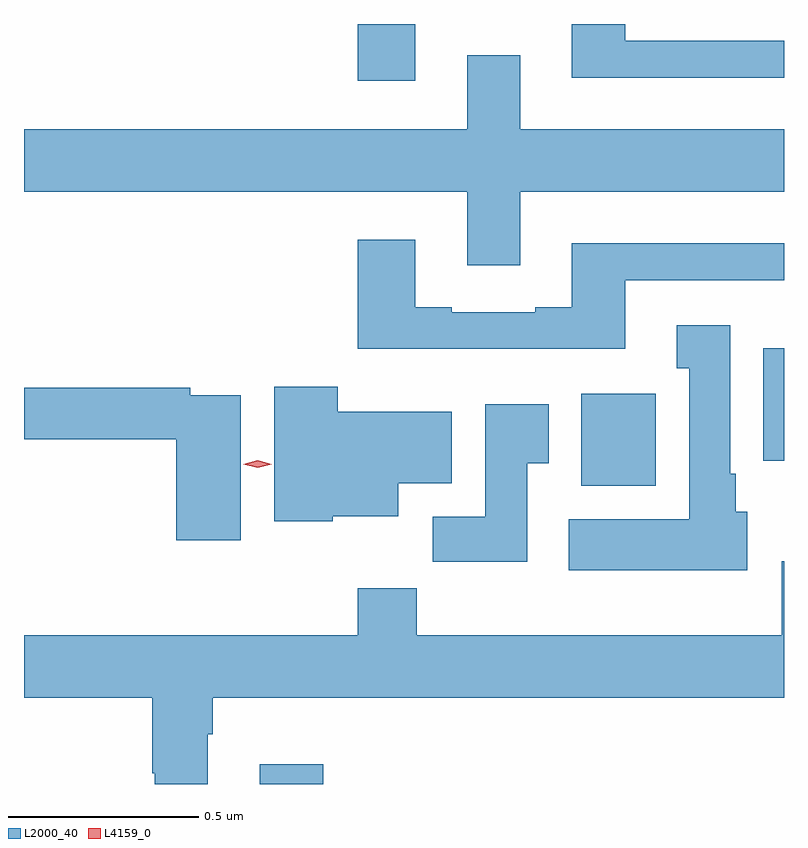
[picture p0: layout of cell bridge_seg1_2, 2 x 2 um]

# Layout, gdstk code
import gdstk
lib = gdstk.Library(unit=1e-6, precision=1e-09)
def R(c, l, rs):  # rectangles x0, y0, x1, y1
    for r in rs: c.add(gdstk.rectangle(r[:2], r[2:], *l))
def P(c, l, *ps):  # polygons
    for p in ps: c.add(gdstk.Polygon(p, *l))
L2000_40 = (2000, 40)
L4159_0 = (4159, 0)

bridge_seg1_2 = lib.new_cell('bridge_seg1_2')
R(bridge_seg1_2, L2000_40, [(865.961,571.485,866.129,571.537), (866.807,572.27,867.004,572.512), (867.287,572.336,867.341,572.632), (866.219,573.336,866.371,573.485)])
P(bridge_seg1_2, L2000_40, [(867.341,573.441),(866.923,573.441),(866.923,573.485),(866.783,573.485),(866.783,573.344),(867.341,573.344)],
  [(866.647,573.044),(867.341,573.044),(867.341,573.208),(866.647,573.208),(866.647,573.403),(866.507,573.403),(866.507,573.208),(865.341,573.208),(865.341,573.044),(866.507,573.044),(866.507,572.85),(866.647,572.85)],
  [(866.923,572.811),(867.341,572.811),(867.341,572.908),(866.783,572.908),(866.783,572.74),(866.687,572.74),(866.687,572.727),(866.467,572.727),(866.467,572.74),(866.371,572.74),(866.371,572.917),(866.219,572.917),(866.219,572.63),(866.923,572.63)],
  [(867.244,572.202),(867.214,572.202),(867.214,572.302),(867.199,572.302),(867.199,572.692),(867.059,572.692),(867.059,572.579),(867.092,572.579),(867.092,572.182),(866.775,572.182),(866.775,572.048),(867.244,572.048)],
  [(866.154,572.189),(866.326,572.189),(866.326,572.276),(866.467,572.276),(866.467,572.464),(866.166,572.464),(866.166,572.53),(866,572.53),(866,572.177),(866.154,572.177)],
  [(865.912,572.508),(865.778,572.508),(865.778,572.528),(865.341,572.528),(865.341,572.392),(865.742,572.392),(865.742,572.127),(865.912,572.127)],
  [(866.665,572.329),(866.722,572.329),(866.722,572.485),(866.555,572.485),(866.555,572.188),(866.416,572.188),(866.416,572.07),(866.665,572.07)],
  [(865.825,571.616),(865.838,571.616),(865.838,571.712),(867.341,571.712),(867.341,572.071),(867.335,572.071),(867.335,571.876),(866.375,571.876),(866.375,572),(866.219,572),(866.219,571.876),(865.341,571.876),(865.341,571.712),(865.678,571.712),(865.678,571.513),(865.685,571.513),(865.685,571.485),(865.825,571.485)])
P(bridge_seg1_2, L4159_0, [(865.956,572.317),(865.918,572.327),(865.918,572.327),(865.918,572.327),(865.956,572.337),(865.993,572.327),(865.993,572.327),(865.993,572.327)])

lib.write_gds('bridge_seg1_2.gds')
